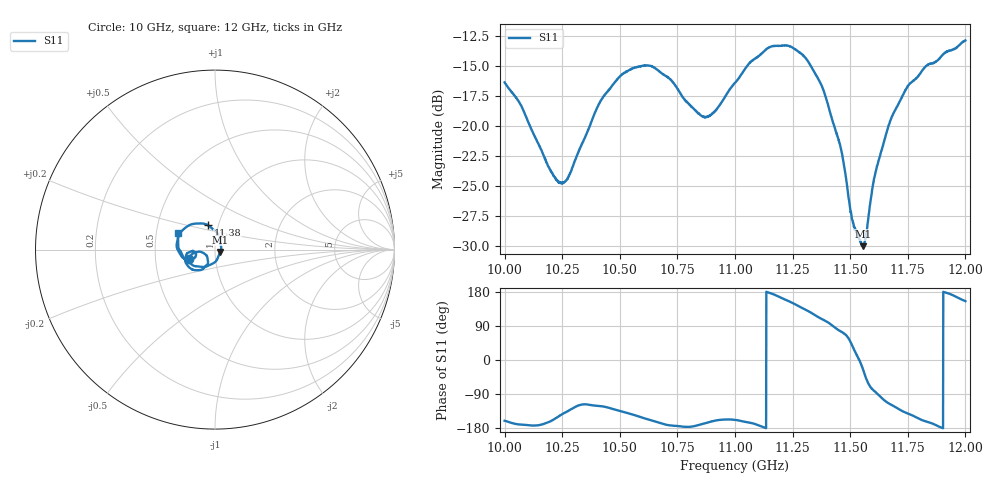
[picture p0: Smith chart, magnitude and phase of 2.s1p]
[Version] 2.0
! Rohde & Schwarz Vector Network Analyzer
! Rohde-Schwarz,ZNL20-2Port,1323001220200009,1.71.1.10-23.02.1.238
! Port Assignments:
! Nominal Port -> Actual Test Port
!  1 -> 1
! Created: GMT 2024-08-27 12:47:08
# Hz S DB R 50
[Number of Ports] 1
! freq[Hz]  S11[mag dB]  S11[ang]
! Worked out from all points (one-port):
!   2001 points, 10 GHz to 12 GHz, reference 50 ohm
!   lowest |S11| = -30.0 dB at 11.55 GHz (marker M1), VSWR 1.07, Z = 53 - j1.32 ohm
!   |S11| at or under -10 dB: start of sweep to end of sweep
!   S11 on the Smith chart (normalised r, x): 10 GHz: 0.75, -0.08; 11.38 GHz: 0.89, +0.25; 12 GHz: 0.65, +0.13
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[Number of Frequencies] 28
[Network Data]
1e10  -16.38 -160.4
1.0069e10  -18.23 -170.3
1.0204e10  -23.89 -160.0
1.025e10  -24.76 -143.0
1.0281e10  -24.09 -132.7
1.0411e10  -18.13 -121.4
1.05e10  -15.89 -134.4
1.0629e10  -14.99 -158.0
1.075e10  -16.90 -174.3
1.0874e10  -19.28 -166.3
1.0918e10  -18.68 -159.6
1.1e10  -16.42 -157.9
1.1064e10  -14.75 -165.3
1.1145e10  -13.50 178.2
1.125e10  -13.47 150.3
1.1312e10  -14.50 130.8
1.1382e10  -16.96 106.3
1.146e10  -21.93 75.1
1.15e10  -26.94 49.4
1.1518e10  -28.45 25.6
1.1555e10  -30.03 -23.3
1.1569e10  -29.07 -48.8
1.1607e10  -24.13 -83.1
1.1654e10  -20.79 -109.3
1.1683e10  -19.16 -119.7
1.175e10  -16.72 -141.2
1.1909e10  -13.95 178.9
1.2e10  -12.88 155.3
[End]
